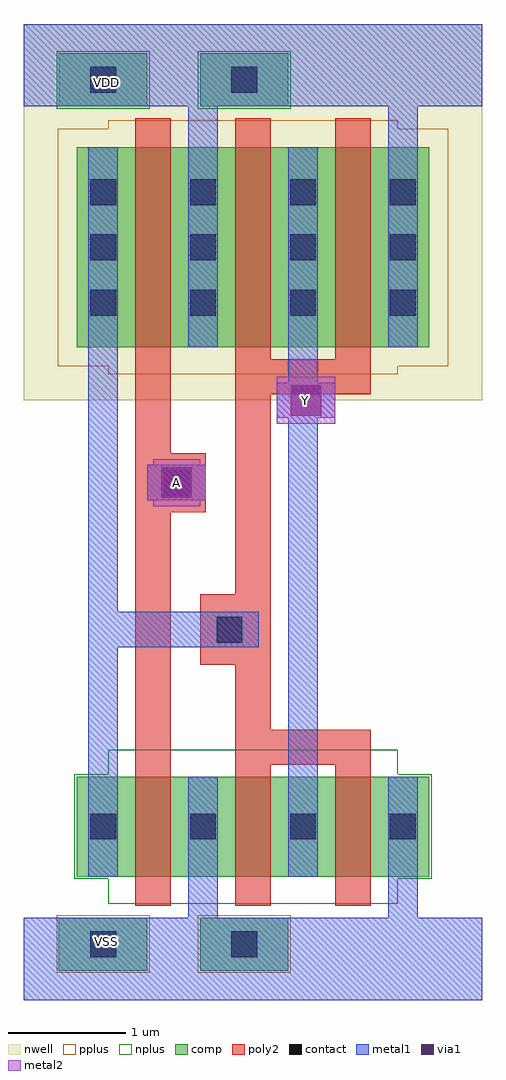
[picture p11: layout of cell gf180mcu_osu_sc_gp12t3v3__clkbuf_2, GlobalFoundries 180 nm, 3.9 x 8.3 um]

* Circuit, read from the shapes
.subckt gf180mcu_osu_sc_gp12t3v3__clkbuf_2 A VDD VSS Y
XM1 VSS A n1 VSS nfet_03v3 w=0.85u l=0.3u
XM2 Y n1 VSS VSS nfet_03v3 w=0.85u l=0.3u m=2
XM3 VDD A n1 VDD pfet_03v3 w=1.7u l=0.3u
XM4 Y n1 VDD VDD pfet_03v3 w=1.7u l=0.3u m=2
.ends

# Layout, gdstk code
import gdstk
lib = gdstk.Library(unit=1e-6, precision=1e-09)
def R(c, l, rs):  # rectangles x0, y0, x1, y1
    for r in rs: c.add(gdstk.rectangle(r[:2], r[2:], *l))
def A(c, l, x, y, w, h, nx, ny, dx, dy):  # array of equal rectangles
    R(c, l, [(x+i*dx, y+j*dy, x+i*dx+w, y+j*dy+h) for i in range(nx) for j in range(ny)])
nwell = (21, 0)
comp = (22, 0)
poly2 = (30, 0)
pplus = (31, 0)
nplus = (32, 0)
contact = (33, 0)
metal1 = (34, 0)
via1 = (35, 0)
metal2 = (36, 0)

gf180mcu_osu_sc_gp12t3v3 = lib.new_cell('gf180mcu_osu_sc_gp12t3v3__clkbuf_2')
R(gf180mcu_osu_sc_gp12t3v3, nwell, [(0,5.1,3.9,8.3)])
R(gf180mcu_osu_sc_gp12t3v3, comp, [(0.3,0.25,1.05,0.7), (1.5,0.25,2.25,0.7), (0.45,1.05,3.45,1.9), (0.45,5.55,3.45,7.25), (0.3,7.6,1.05,8.05), (1.5,7.6,2.25,8.05)])
R(gf180mcu_osu_sc_gp12t3v3, poly2, [(0.95,0.8,1.25,4.15), (1.8,0.8,2.1,2), (2.65,0.8,2.95,2), (1.8,2,2.95,2.3), (1.8,2.3,2.1,2.85), (1.5,2.85,2.1,3.45), (1.8,3.45,2.1,5.15), (0.95,4.15,1.55,4.65), (0.95,4.65,1.25,7.5), (1.8,5.15,2.95,5.45), (1.8,5.45,2.1,7.5), (2.65,5.45,2.95,7.5)])
R(gf180mcu_osu_sc_gp12t3v3, pplus, [(0.28,0.23,1.07,0.72), (1.48,0.23,2.27,0.72), (0.72,5.32,3.18,5.39), (0.29,5.39,3.61,7.41), (0.72,7.41,3.18,7.48)])
R(gf180mcu_osu_sc_gp12t3v3, nplus, [(0.72,0.82,3.18,1.03), (0.43,1.03,3.47,1.92), (0.72,1.92,3.18,2.13), (0.28,7.58,1.07,8.07), (1.48,7.58,2.27,8.07)])
A(gf180mcu_osu_sc_gp12t3v3, contact, 0.565, 1.365, 0.22, 0.22, 4, 2, 0.85, 4.455)
A(gf180mcu_osu_sc_gp12t3v3, contact, 0.565, 6.29, 0.22, 0.22, 4, 2, 0.85, 0.47)
R(gf180mcu_osu_sc_gp12t3v3, contact, [(0.565,0.365,0.785,0.585), (1.765,0.365,1.985,0.585), (1.64,3.04,1.86,3.26), (1.19,4.29,1.41,4.51), (0.565,7.715,0.785,7.935), (1.765,7.715,1.985,7.935)])
R(gf180mcu_osu_sc_gp12t3v3, metal1, [(0,0,3.9,0.7), (1.4,0.7,1.65,1.9), (3.1,0.7,3.35,1.9), (0.55,1.05,0.8,3), (2.25,1.05,2.5,4.95), (0.55,3,2,3.3), (0.55,3.3,0.8,7.25), (1.05,4.25,1.55,4.55), (2.15,4.95,2.65,5.25), (2.25,5.25,2.5,7.25), (1.4,5.55,1.65,7.6), (3.1,5.55,3.35,7.6), (0,7.6,3.9,8.3)])
R(gf180mcu_osu_sc_gp12t3v3, via1, [(1.17,4.27,1.43,4.53), (2.27,4.97,2.53,5.23)])
R(gf180mcu_osu_sc_gp12t3v3, metal2, [(1.1,4.2,1.5,4.25), (1.05,4.25,1.55,4.55), (1.1,4.55,1.5,4.6), (2.15,4.9,2.65,5.3)])
gf180mcu_osu_sc_gp12t3v3.add(gdstk.Label('A', (1.3,4.4), layer=36, texttype=10))
gf180mcu_osu_sc_gp12t3v3.add(gdstk.Label('Y', (2.4,5.1), layer=36, texttype=10))
gf180mcu_osu_sc_gp12t3v3.add(gdstk.Label('VDD', (0.7,7.8), layer=34, texttype=10))
gf180mcu_osu_sc_gp12t3v3.add(gdstk.Label('VSS', (0.7,0.5), layer=34, texttype=10))

lib.write_gds('gf180mcu_osu_sc_gp12t3v3__clkbuf_2.gds')
